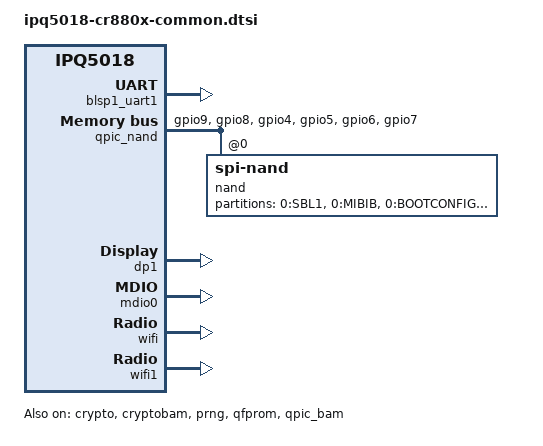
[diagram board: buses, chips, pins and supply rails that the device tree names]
// SPDX-License-Identifier: GPL-2.0-or-later OR MIT

#include "ipq5018.dtsi"
#include "ipq5018-ess.dtsi"
#include "ipq5018-qcn6122.dtsi"

#include <dt-bindings/gpio/gpio.h>
#include <dt-bindings/input/input.h>
#include <dt-bindings/leds/common.h>

/ {
	aliases {
		serial0 = &blsp1_uart1;
		led-boot = &led_system_blue;
		led-failsafe = &led_system_blue;
		led-running = &led_system_yellow;
		led-upgrade = &led_system_blue;
	};

	chosen {
		bootargs-append = " root=/dev/ubiblock0_1 coherent_pool=2M";
		stdout-path = "serial0:115200n8";
	};
};

&sleep_clk {
	clock-frequency = <32000>;
};

&xo_board_clk {
	clock-div = <4>;
	clock-mult = <1>;
};

&blsp1_uart1 {
	status = "okay";

	pinctrl-0 = <&serial_0_pins>;
	pinctrl-names = "default";
};

&crypto {
	status = "okay";
};

&cryptobam {
	status = "okay";
};

&prng {
	status = "okay";
};

&qfprom {
	status = "okay";
};

&qpic_bam {
	status = "okay";
};

&qpic_nand {
	pinctrl-0 = <&qpic_pins>;
	pinctrl-names = "default";
	status = "okay";

	nand@0 {
		compatible = "spi-nand";
		reg = <0>;
		nand-ecc-engine = <&qpic_nand>;
		nand-bus-width = <8>;
		nand-ecc-strength = <8>;
		nand-ecc-step-size = <512>;

		partitions {
			compatible = "fixed-partitions";
			#address-cells = <1>;
			#size-cells = <1>;

			partition@0 { label = "0:SBL1"; reg = <0x00000000 0x00080000>; read-only; };
			partition@80000 { label = "0:MIBIB"; reg = <0x00080000 0x00080000>; read-only; };
			partition@100000 { label = "0:BOOTCONFIG"; reg = <0x00100000 0x00040000>; read-only; };
			partition@140000 { label = "0:BOOTCONFIG1"; reg = <0x00140000 0x00040000>; read-only; };
			partition@180000 { label = "0:QSEE"; reg = <0x00180000 0x00100000>; read-only; };
			partition@280000 { label = "0:QSEE_1"; reg = <0x00280000 0x00100000>; read-only; };
			partition@380000 { label = "0:DEVCFG"; reg = <0x00380000 0x00040000>; read-only; };
			partition@3c0000 { label = "0:DEVCFG_1"; reg = <0x003c0000 0x00040000>; read-only; };
			partition@400000 { label = "0:CDT"; reg = <0x00400000 0x00040000>; read-only; };
			partition@440000 { label = "0:CDT_1"; reg = <0x00440000 0x00040000>; read-only; };
			partition@480000 { label = "0:APPSBLENV"; reg = <0x00480000 0x00080000>; };
			partition@500000 { label = "0:APPSBL"; reg = <0x00500000 0x00140000>; read-only; };
			partition@640000 { label = "0:APPSBL_1"; reg = <0x00640000 0x00140000>; read-only; };
			partition@780000 {
				label = "0:ART";
				reg = <0x00780000 0x00100000>;
				read-only;

				nvmem-layout {
					compatible = "fixed-layout";
					#address-cells = <1>;
					#size-cells = <1>;
					mac_addr_dp: macaddr@0 {
						compatible = "mac-base";
						reg = <0x0 0x6>;
						#nvmem-cell-cells = <1>;
					};
					mac_addr_wifi: macaddr@6 {
						compatible = "mac-base";
						reg = <0x6 0x6>;
						#nvmem-cell-cells = <1>;
					};
				};
			};
			partition@880000 { label = "0:TRAINING"; reg = <0x00880000 0x00080000>; read-only; };
			partition@900000 { label = "bdata"; reg = <0x00900000 0x00080000>; };
			partition@980000 { label = "crash"; reg = <0x00980000 0x00080000>; };
			partition@a00000 { label = "crash_syslog"; reg = <0x00a00000 0x00080000>; };
			partition@a80000 { label = "rootfs"; reg = <0x00a80000 0x07480000>; };
		};
	};
};

// MAC0 -> GE Phy
&dp1 {
	status = "okay";
	nvmem-cells = <&mac_addr_dp 0>;
	nvmem-cell-names = "mac-address";
};

&mdio0 {
	status = "okay";
};

// MAC0 -> GE Phy -> external switch PHY4
&ge_phy {
	qcom,dac-preset-short-cable;
};

&tlmm {
	mdio1_pins: mdio-state {
		mdc-pins {
			pins = "gpio36";
			function = "mdc";
			drive-strength = <8>;
			bias-pull-up;
		};

		mdio-pins {
			pins = "gpio37";
			function = "mdio";
			drive-strength = <8>;
			bias-pull-up;
		};
	};

	qpic_pins: qpic-state {
		clock-pins {
			pins = "gpio9";
			function = "qspi_clk";
			drive-strength = <8>;
			bias-disable;
		};

		cs-pins {
			pins = "gpio8";
			function = "qspi_cs";
			drive-strength = <8>;
			bias-disable;
		};

		data-pins {
			pins = "gpio4", "gpio5", "gpio6", "gpio7";
			function = "qspi_data";
			drive-strength = <8>;
			bias-disable;
		};
	};
};

&wifi {
	// IPQ5018 2.4G
	qcom,rproc = <&q6_wcss_pd1>;
	qcom,ath11k-fw-memory-mode = <1>;
	qcom,bdf-addr = <0x4c400000>;
	status = "okay";
	nvmem-cell-names = "mac-address";
	nvmem-cells = <&mac_addr_wifi 1>;
};

&wifi1 {
	// QCN6102 5G
	qcom,rproc = <&q6_wcss_pd2>;
	qcom,userpd-subsys-name = "q6v5_wcss_userpd2";
	qcom,ath11k-calibration-variant = "Xiaomi-CR880X";
	qcom,ath11k-fw-memory-mode = <1>;
	qcom,bdf-addr = <0x4d100000>;
	qcom,m3-dump-addr = <0x4df00000>;
	status = "okay";
	nvmem-cell-names = "mac-address";
	nvmem-cells = <&mac_addr_wifi 0>;
};
